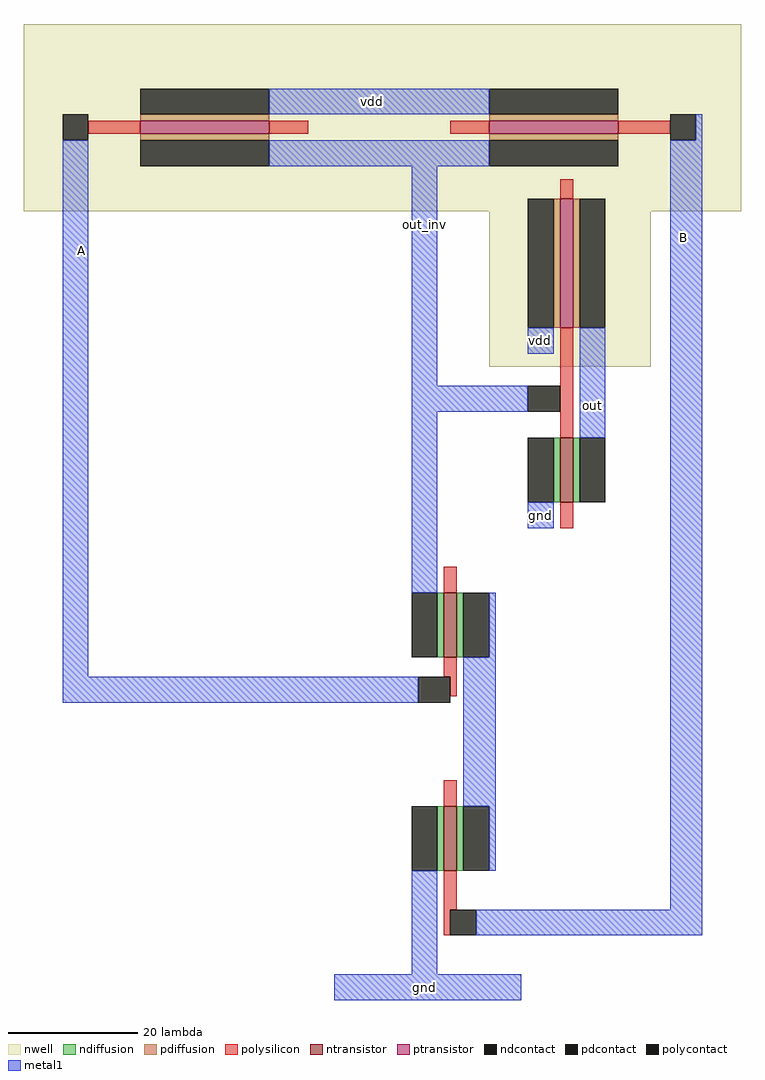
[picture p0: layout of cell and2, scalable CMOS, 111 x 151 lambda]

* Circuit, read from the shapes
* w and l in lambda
.subckt and2 A B gnd out out_inv vdd
M1 n1 B gnd VSUBS nfet w=10 l=2
M2 n1 A out_inv VSUBS nfet w=10 l=2
M3 out out_inv gnd VSUBS nfet w=10 l=2
M4 vdd A out_inv n2 pfet w=20 l=2
M5 vdd B out_inv n2 pfet w=20 l=2
M6 out out_inv vdd n2 pfet w=20 l=2
.ends

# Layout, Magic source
magic
tech scmos
<< nwell >>
rect -18 -7 93 22
rect 54 -31 79 -7
<< polysilicon >>
rect -8 5 0 7
rect 20 5 26 7
rect 48 5 54 7
rect 74 5 82 7
rect 65 -5 67 -2
rect 65 -42 67 -25
rect 65 -56 67 -52
rect 47 -66 49 -62
rect 47 -79 49 -76
rect 48 -82 49 -79
rect 47 -99 49 -95
rect 47 -115 49 -109
rect 47 -119 48 -115
<< ndiffusion >>
rect 64 -52 65 -42
rect 67 -52 68 -42
rect 46 -76 47 -66
rect 49 -76 50 -66
rect 46 -109 47 -99
rect 49 -109 50 -99
<< pdiffusion >>
rect 0 7 20 8
rect 54 7 74 8
rect 0 4 20 5
rect 54 4 74 5
rect 64 -25 65 -5
rect 67 -25 68 -5
<< metal1 >>
rect 20 8 54 12
rect 86 4 87 8
rect -12 -79 -8 4
rect 20 0 54 4
rect 42 -34 46 0
rect 60 -29 64 -25
rect 42 -38 60 -34
rect 42 -66 46 -38
rect 68 -42 72 -25
rect 60 -56 64 -52
rect 54 -76 55 -66
rect -12 -83 43 -79
rect 50 -99 55 -76
rect 54 -109 55 -99
rect 42 -125 46 -109
rect 82 -115 87 4
rect 52 -119 87 -115
rect 30 -129 59 -125
<< ntransistor >>
rect 65 -52 67 -42
rect 47 -76 49 -66
rect 47 -109 49 -99
<< ptransistor >>
rect 0 5 20 7
rect 54 5 74 7
rect 65 -25 67 -5
<< polycontact >>
rect -12 4 -8 8
rect 82 4 86 8
rect 60 -38 65 -34
rect 43 -83 48 -79
rect 48 -119 52 -115
<< ndcontact >>
rect 60 -52 64 -42
rect 68 -52 72 -42
rect 42 -76 46 -66
rect 50 -76 54 -66
rect 42 -109 46 -99
rect 50 -109 54 -99
<< pdcontact >>
rect 0 8 20 12
rect 54 8 74 12
rect 0 0 20 4
rect 54 0 74 4
rect 60 -25 64 -5
rect 68 -25 72 -5
<< labels >>
rlabel metal1 36 10 36 10 1 vdd
rlabel metal1 -9 -13 -9 -13 1 A
rlabel metal1 84 -11 84 -11 1 B
rlabel metal1 44 -9 44 -9 1 out_inv
rlabel metal1 62 -27 62 -27 1 vdd
rlabel metal1 62 -54 62 -54 1 gnd
rlabel metal1 70 -37 70 -37 1 out
rlabel metal1 44 -127 44 -127 1 gnd
<< end >>
